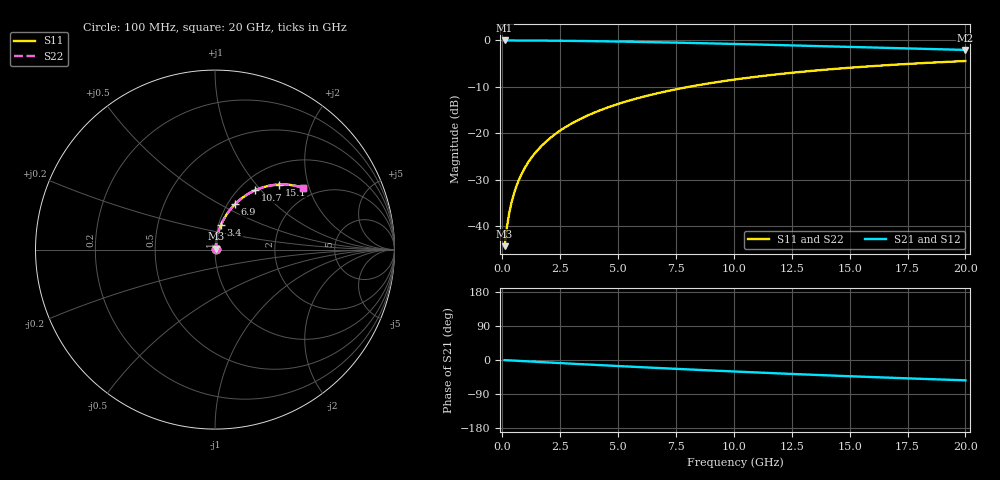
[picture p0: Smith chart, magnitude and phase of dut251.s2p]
! Touchstone file exported from HFSS 2026.1.0
!  File:  C:/ffzhzh/LocalFiles/Ansys_Project_Files/temp_train_TMRDL_251_1782984817_42984.aedt
!  Generated:  05:35:02 PM Jul  2, 2026
!  Design:  TMRDL
!  Project:  temp_train_TMRDL_251_1782984817_42984
! Variables:
!  h_bsmrdl = 2um
!  h_ox = 20um
!  h_rdl = 5um
!  h_sub = 80um
!  h_tmrdl = 5.96um
!  h_tsv = 80um
!  h_via = 3um
!  l_bsmrdl = 300um
!  l_sub = 1130.04um
!  l_tmrdl = 730.04um
!  m_sub = 200um
!  pitch = 58.02um
!  r_tsv = 6um
!  s_tmrdl = 10um
!  w_bsmrdl = 18um
!  w_sub = 500um
!  w_tmrdl = 10.25um
!  x_tsv_center1 = 735.165um
!  x_tsv_center2 = 1053.165um
!  x_tsv_center3 = 1793.455um
!  x_tsv_center4 = 2111.455um
!  x_tsv_center5 = 2851.745um
!  x_tsv_center6 = 3169.745um
# GHz S MA R 50.000000
! Terminal data exported
! Port[1] = TM_RDL1_1_T1
! Port[2] = TM_RDL1_1_T2
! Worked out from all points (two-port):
!   200 points, 100 MHz to 20 GHz, reference 50 ohm
!   highest |S21| = -0.04 dB at 100 MHz (marker M1); lowest = -2.1 dB at 20 GHz (marker M2)
!   |S21| within 3 dB of the highest: start of sweep to end of sweep
!   lowest |S11| = -44.3 dB at 100 MHz (marker M3), VSWR 1.01, Z = 50.4 + j0.443 ohm
!   |S11| at or under -10 dB: start of sweep to 8.066 GHz
!   |S22| runs from -44.3 to -4.5 dB; largest |S21 - S12| = 1e-14
!   S11 on the Smith chart (normalised r, x): 100 MHz: 1.01, +0.01; 3.4 GHz: 1.03, +0.29; 6.9 GHz: 1.08, +0.59; 10.7 GHz: 1.18, +0.93; 15.1 GHz: 1.36, +1.33; 20 GHz: 1.69, +1.82
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0.1  0.006111 46.0  0.9958 -0.3  0.9958 -0.3  0.006111 46.0
! Gamma 0 0 0 0
! Port Impedance 50 0 50 0
0.2  0.009801 63.5  0.9957 -0.7  0.9957 -0.7  0.009801 63.5
0.3  0.01389 70.7  0.9956 -1.0  0.9956 -1.0  0.01389 70.7
0.4  0.01808 74.5  0.9954 -1.3  0.9954 -1.3  0.01808 74.5
0.5  0.02231 76.7  0.9953 -1.7  0.9953 -1.7  0.02231 76.7
0.7  0.03082 79.0  0.9949 -2.3  0.9949 -2.3  0.03082 79.0
1  0.04361 80.4  0.9942 -3.3  0.9942 -3.3  0.04361 80.4
1.4  0.06065 80.6  0.9931 -4.6  0.9931 -4.6  0.06065 80.6
2  0.08604 79.7  0.9907 -6.5  0.9907 -6.5  0.08604 79.7
2.6  0.1111 78.3  0.9877 -8.5  0.9877 -8.5  0.1111 78.3
3.4  0.1438 76.2  0.9826 -11.0  0.9826 -11.0  0.1438 76.2
3.5  0.1479 75.9  0.9819 -11.3  0.9819 -11.3  0.1479 75.9
5  0.2067 71.6  0.9697 -16.0  0.9697 -16.0  0.2067 71.6
6.8  0.2728 66.5  0.9518 -21.3  0.9518 -21.3  0.2728 66.5
6.9  0.2763 66.2  0.9507 -21.6  0.9507 -21.6  0.2763 66.2
8.4  0.3272 62.1  0.9336 -25.9  0.9336 -25.9  0.3272 62.1
10.1  0.3804 57.6  0.9127 -30.6  0.9127 -30.6  0.3804 57.6
10.7  0.398 56.0  0.905 -32.2  0.905 -32.2  0.398 56.0
13.4  0.4698 49.4  0.8697 -39.0  0.8697 -39.0  0.4698 49.4
15.1  0.509 45.4  0.8475 -43.1  0.8475 -43.1  0.509 45.4
16.7  0.5418 41.9  0.827 -46.7  0.827 -46.7  0.5418 41.9
20  0.5986 35.1  0.7876 -53.6  0.7876 -53.6  0.5986 35.1
